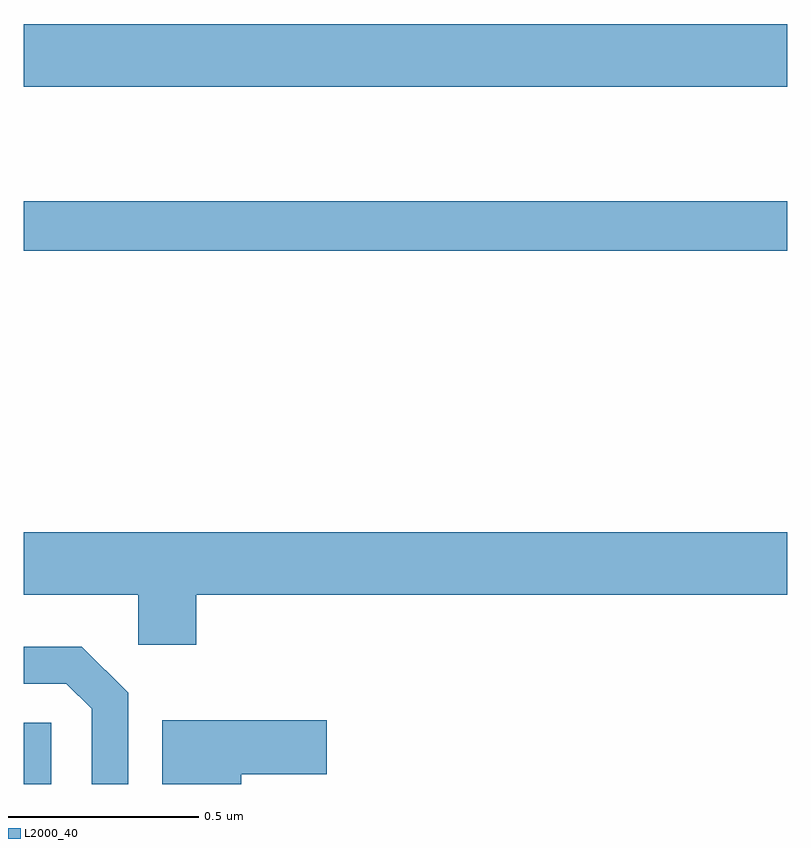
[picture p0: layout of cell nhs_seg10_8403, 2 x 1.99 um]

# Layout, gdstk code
import gdstk
lib = gdstk.Library(unit=1e-6, precision=1e-09)
def R(c, l, rs):  # rectangles x0, y0, x1, y1
    for r in rs: c.add(gdstk.rectangle(r[:2], r[2:], *l))
def P(c, l, *ps):  # polygons
    for p in ps: c.add(gdstk.Polygon(p, *l))
L2000_40 = (2000, 40)

nhs_seg10_8403 = lib.new_cell('nhs_seg10_8403')
R(nhs_seg10_8403, L2000_40, [(216,1286.5,216.072,1286.661), (216,1287.898,218,1288.027), (216,1288.328,218,1288.492)])
P(nhs_seg10_8403, L2000_40, [(216.452,1286.996),(218,1286.996),(218,1287.16),(216,1287.16),(216,1286.996),(216.3,1286.996),(216.3,1286.865),(216.452,1286.865)],
  [(216.273,1286.739),(216.152,1286.86),(216,1286.86),(216,1286.763),(216.111,1286.763),(216.177,1286.697),(216.177,1286.5),(216.273,1286.5)],
  [(216.569,1286.525),(216.793,1286.525),(216.793,1286.667),(216.362,1286.667),(216.362,1286.5),(216.569,1286.5)])

lib.write_gds('nhs_seg10_8403.gds')
